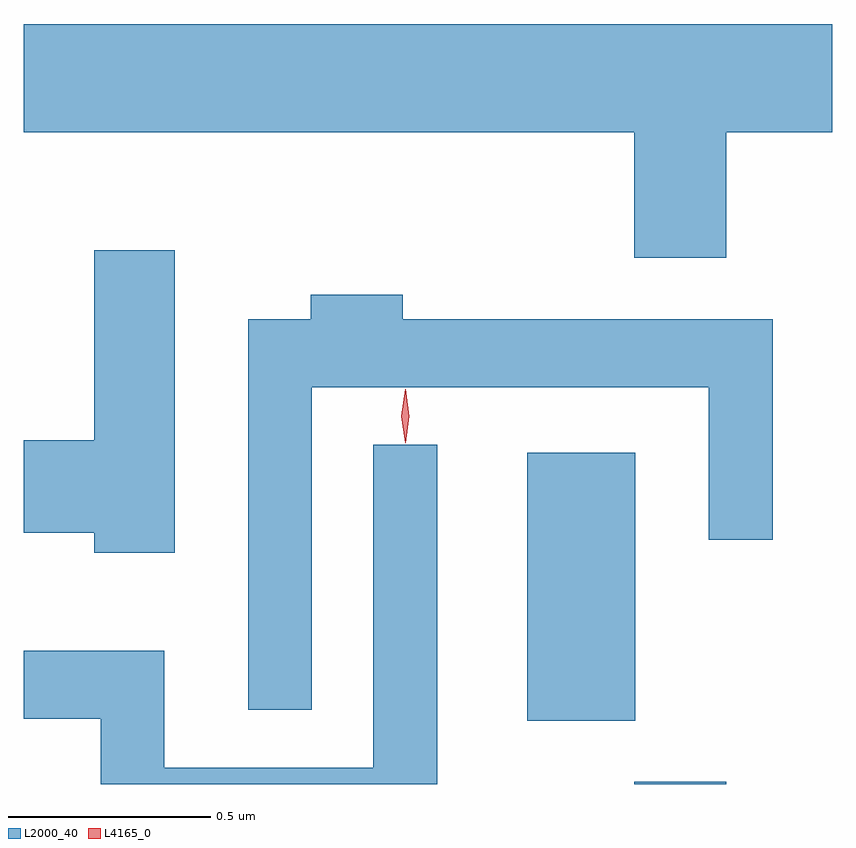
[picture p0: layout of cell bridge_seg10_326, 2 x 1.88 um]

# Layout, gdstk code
import gdstk
lib = gdstk.Library(unit=1e-6, precision=1e-09)
def R(c, l, rs):  # rectangles x0, y0, x1, y1
    for r in rs: c.add(gdstk.rectangle(r[:2], r[2:], *l))
def P(c, l, *ps):  # polygons
    for p in ps: c.add(gdstk.Polygon(p, *l))
L2000_40 = (2000, 40)
L4165_0 = (4165, 0)

bridge_seg10_326 = lib.new_cell('bridge_seg10_326')
R(bridge_seg10_326, L2000_40, [(1400.261,2167.804,1400.489,2167.809), (1399.996,2167.961,1400.264,2168.624)])
P(bridge_seg10_326, L2000_40, [(1400.489,2169.416),(1400.751,2169.416),(1400.751,2169.684),(1398.751,2169.684),(1398.751,2169.416),(1400.261,2169.416),(1400.261,2169.106),(1400.489,2169.106)],
  [(1399.124,2169.124),(1398.926,2169.124),(1398.926,2168.654),(1398.751,2168.654),(1398.751,2168.426),(1398.926,2168.426),(1398.926,2168.376),(1399.124,2168.376)],
  [(1399.464,2168.786),(1400.446,2168.786),(1400.446,2168.408),(1400.604,2168.408),(1400.604,2168.954),(1399.689,2168.954),(1399.689,2169.014),(1399.461,2169.014),(1399.461,2168.954),(1399.306,2168.954),(1399.306,2167.988),(1399.464,2167.988)],
  [(1399.774,2168.643),(1399.616,2168.643),(1399.616,2167.844),(1399.099,2167.844),(1399.099,2168.134),(1398.751,2168.134),(1398.751,2167.966),(1398.941,2167.966),(1398.941,2167.804),(1399.774,2167.804)])
P(bridge_seg10_326, L4165_0, [(1399.695,2168.647),(1399.695,2168.648),(1399.685,2168.714),(1399.695,2168.78),(1399.695,2168.781),(1399.696,2168.78),(1399.705,2168.714),(1399.696,2168.648)])

lib.write_gds('bridge_seg10_326.gds')
